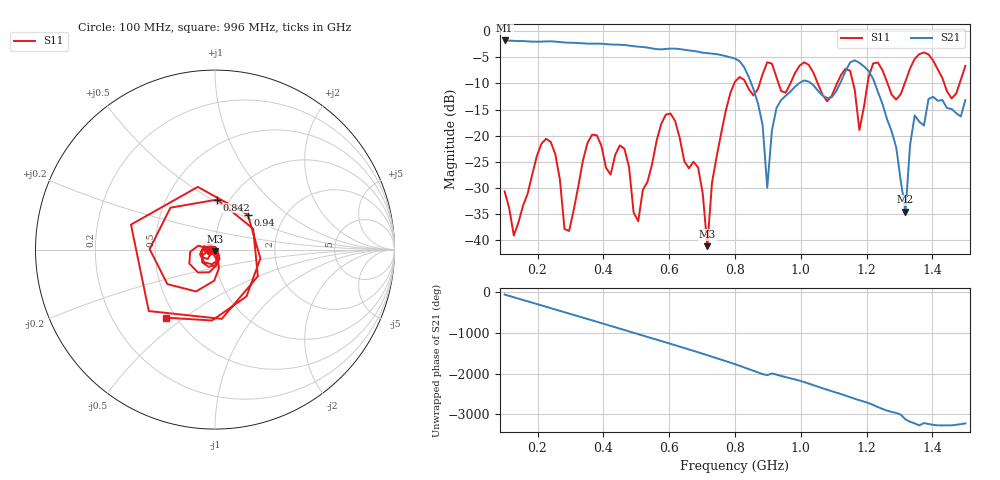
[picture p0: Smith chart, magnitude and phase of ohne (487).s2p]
! NanoVNA-App
! Date: 2025-09-25 14:24:35
! Start: 100MHz Stop: 1,5GHz Points: 101
! S-Parameter data: F S11 S21 S12 S22
# Hz S RI R 50
!  Frequency  S11_Real  S11_Imag  S21_Real  S21_Imag  S12_Real  S12_Imag  S22_Real  S22_Imag
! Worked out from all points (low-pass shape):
!   101 points, 100 MHz to 1.5 GHz, reference 50 ohm
!   highest |S21| = -1.79 dB at 100 MHz (marker M1); lowest = -34.5 dB at 1.318 GHz (marker M2)
!   |S21| within 3 dB of the highest: start of sweep to 772 MHz
!   lowest |S11| = -41.1 dB at 716 MHz (marker M3), VSWR 1.02, Z = 49.8 - j0.853 ohm
!   |S11| at or under -10 dB: start of sweep to 798 MHz; 833.2 MHz to 875.1 MHz (41.86 MHz wide, 4.9 % of centre); 1.051 GHz to 1.11 GHz (58.63 MHz wide, 5.42 % of centre) (the widest 3 of 7)
!   S12 and S22 are empty: the file has one direction only
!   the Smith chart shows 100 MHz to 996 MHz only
!   S11 on the Smith chart (normalised r, x): 100 MHz: 0.94, -0.01; 842 MHz: 0.88, +0.53; 940 MHz: 1.32, +0.55; 996 MHz: 0.44, -0.43
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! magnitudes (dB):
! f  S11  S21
! 100 MHz  -30.6  -1.8
! 128 MHz  -39.1  -1.9
! 226 MHz  -20.6  -2.0
! 296 MHz  -38.2  -2.2
! 338 MHz  -24.7  -2.3
! 464 MHz  -22.5  -2.7
! 506 MHz  -36.4  -3.0
! 576 MHz  -17.7  -3.5
! 688 MHz  -26.1  -3.9
! 716 MHz  -41.1  -4.2
! 800 MHz  -9.7  -5.3
! 842 MHz  -11.1  -8.8
! 898 MHz  -6.0  -30.0
! 940 MHz  -11.5  -13.2
! 996 MHz  -6.6  -9.9
! 1.038 GHz  -7.9  -10.3
! 1.178 GHz  -18.9  -6.1
! 1.22 GHz  -6.2  -9.2
! 1.276 GHz  -12.2  -19.2
! 1.318 GHz  -9.6  -34.5
! 1.346 GHz  -5.3  -16.1
! 1.5 GHz  -6.6  -13.2
